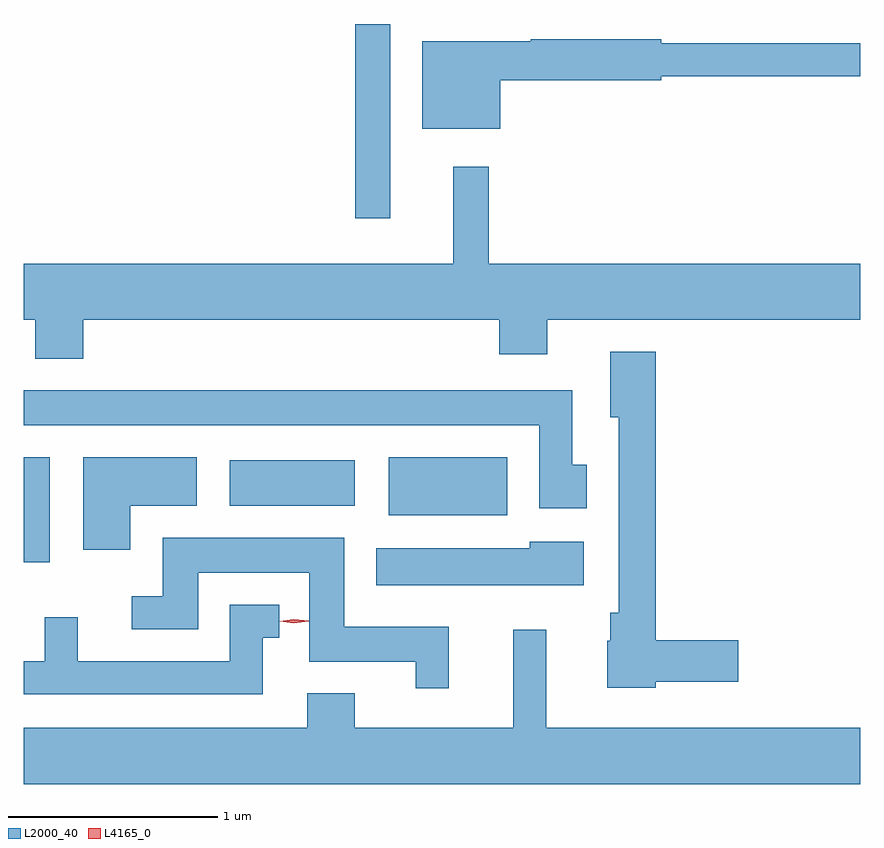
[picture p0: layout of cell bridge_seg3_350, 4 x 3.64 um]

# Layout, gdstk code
import gdstk
lib = gdstk.Library(unit=1e-6, precision=1e-09)
def R(c, l, rs):  # rectangles x0, y0, x1, y1
    for r in rs: c.add(gdstk.rectangle(r[:2], r[2:], *l))
def P(c, l, *ps):  # polygons
    for p in ps: c.add(gdstk.Polygon(p, *l))
L2000_40 = (2000, 40)
L4165_0 = (4165, 0)

bridge_seg3_350 = lib.new_cell('bridge_seg3_350')
R(bridge_seg3_350, L2000_40, [(670.166,1200.336,670.289,1200.839), (671.911,1200.561,672.479,1200.839), (671.151,1200.606,671.749,1200.824), (671.751,1201.983,671.919,1202.911)])
P(bridge_seg3_350, L2000_40, [(672.444,1202.641),(673.214,1202.641),(673.214,1202.661),(674.166,1202.661),(674.166,1202.819),(673.214,1202.819),(673.214,1202.839),(672.59,1202.839),(672.59,1202.829),(672.071,1202.829),(672.071,1202.411),(672.444,1202.411)],
  [(670.449,1201.496),(672.441,1201.496),(672.441,1201.331),(672.669,1201.331),(672.669,1201.496),(674.166,1201.496),(674.166,1201.764),(672.389,1201.764),(672.389,1202.228),(672.221,1202.228),(672.221,1201.764),(670.166,1201.764),(670.166,1201.496),(670.221,1201.496),(670.221,1201.311),(670.449,1201.311)],
  [(673.189,1199.766),(673.584,1199.766),(673.584,1199.964),(673.189,1199.964),(673.189,1201.344),(672.971,1201.344),(672.971,1201.031),(673.011,1201.031),(673.011,1200.094),(672.971,1200.094),(672.971,1199.96),(672.956,1199.96),(672.956,1199.736),(673.189,1199.736)],
  [(672.859,1200.804),(672.789,1200.804),(672.789,1201.159),(670.166,1201.159),(670.166,1200.991),(672.631,1200.991),(672.631,1200.596),(672.859,1200.596)],
  [(670.674,1200.606),(670.994,1200.606),(670.994,1200.839),(670.451,1200.839),(670.451,1200.396),(670.674,1200.396)],
  [(672.199,1200.029),(671.699,1200.029),(671.699,1200.454),(670.831,1200.454),(670.831,1200.174),(670.683,1200.174),(670.683,1200.016),(670.999,1200.016),(670.999,1200.286),(671.531,1200.286),(671.531,1199.861),(672.041,1199.861),(672.041,1199.733),(672.199,1199.733)],
  [(672.844,1200.434),(672.586,1200.434),(672.586,1200.404),(671.851,1200.404),(671.851,1200.226),(672.844,1200.226)],
  [(671.309,1199.976),(671.388,1199.976),(671.388,1200.134),(671.151,1200.134),(671.151,1199.864),(670.424,1199.864),(670.424,1200.073),(670.266,1200.073),(670.266,1199.864),(670.166,1199.864),(670.166,1199.706),(671.309,1199.706)],
  [(674.166,1199.544),(672.664,1199.544),(672.664,1200.013),(672.506,1200.013),(672.506,1199.544),(671.749,1199.544),(671.749,1199.709),(671.521,1199.709),(671.521,1199.544),(670.166,1199.544),(670.166,1199.276),(674.166,1199.276)])
P(bridge_seg3_350, L4165_0, [(671.458,1200.045),(671.389,1200.054),(671.389,1200.055),(671.389,1200.055),(671.458,1200.065),(671.528,1200.056),(671.528,1200.056),(671.528,1200.055)])

lib.write_gds('bridge_seg3_350.gds')
